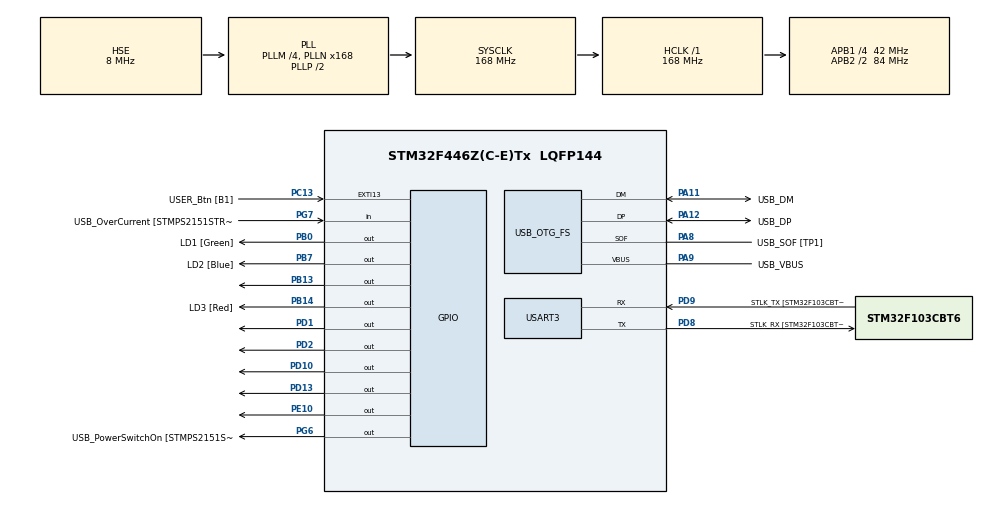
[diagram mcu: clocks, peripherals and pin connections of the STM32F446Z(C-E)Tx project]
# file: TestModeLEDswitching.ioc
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Mcu.Family=STM32F4
Mcu.Name=STM32F446Z(C-E)Tx
Mcu.Package=LQFP144
NVIC.PriorityGroup=NVIC_PRIORITYGROUP_4
NVIC.TIM2_IRQn=true\:0\:0\:false\:false\:true\:true\:true\:true
PA10.GPIO_Label=USB_ID
PA10.Signal=USB_OTG_FS_ID
PA11.GPIO_Label=USB_DM
PA11.Mode=Device_Only
PA11.Signal=USB_OTG_FS_DM
PA12.GPIO_Label=USB_DP
PA12.Mode=Device_Only
PA12.Signal=USB_OTG_FS_DP
PA13.GPIO_Label=TMS
PA13.Mode=Serial_Wire
PA13.Signal=SYS_JTMS-SWDIO
PA14.GPIO_Label=TCK
PA14.Mode=Serial_Wire
PA14.Signal=SYS_JTCK-SWCLK
PA8.GPIO_Label=USB_SOF [TP1]
PA8.Mode=Activate_SOF_FS
PA8.Signal=USB_OTG_FS_SOF
PA9.GPIO_Label=USB_VBUS
PA9.Mode=Activate_VBUS
PA9.Signal=USB_OTG_FS_VBUS
PB0.GPIO_Label=LD1 [Green]
PB0.Signal=GPIO_Output
PB13.Signal=GPIO_Output
PB14.GPIO_Label=LD3 [Red]
PB14.Signal=GPIO_Output
PB7.GPIO_Label=LD2 [Blue]
PB7.Signal=GPIO_Output
PC13.GPIO_Label=USER_Btn [B1]
PC13.Signal=GPXTI13
PC14-OSC32_IN.Mode=LSE-External-Oscillator
PC14-OSC32_IN.Signal=RCC_OSC32_IN
PC15-OSC32_OUT.Mode=LSE-External-Oscillator
PC15-OSC32_OUT.Signal=RCC_OSC32_OUT
PD1.Signal=GPIO_Output
PD10.Signal=GPIO_Output
PD13.Signal=GPIO_Output
PD2.Signal=GPIO_Output
PD8.GPIO_Label=STLK_RX [STM32F103CBT6_PA3]
PD8.Mode=Asynchronous
PD8.Signal=USART3_TX
PD9.GPIO_Label=STLK_TX [STM32F103CBT6_PA2]
PD9.Mode=Asynchronous
PD9.Signal=USART3_RX
PE10.Signal=GPIO_Output
PG6.GPIO_Label=USB_PowerSwitchOn [STMPS2151STR_EN]
PG6.Signal=GPIO_Output
PG7.GPIO_Label=USB_OverCurrent [STMPS2151STR_FAULT]
PG7.Signal=GPIO_Input
PH0-OSC_IN.GPIO_Label=MCO [STM32F103CBT6_PA8]
PH0-OSC_IN.Mode=HSE-External-Clock-Source
PH0-OSC_IN.Signal=RCC_OSC_IN
PH1-OSC_OUT.Mode=HSE-External-Clock-Source
PH1-OSC_OUT.Signal=RCC_OSC_OUT
ProjectManager.HeapSize=0x200
ProjectManager.StackSize=0x400
ProjectManager.TargetToolchain=STM32CubeIDE
RCC.48MHZClocksFreq_Value=24000000
RCC.AHBFreq_Value=168000000
RCC.APB1CLKDivider=RCC_HCLK_DIV4
RCC.APB1Freq_Value=42000000
RCC.APB1TimFreq_Value=84000000
RCC.APB2CLKDivider=RCC_HCLK_DIV2
RCC.APB2Freq_Value=84000000
RCC.APB2TimFreq_Value=168000000
RCC.CortexFreq_Value=168000000
RCC.HCLKFreq_Value=168000000
RCC.HSE_VALUE=8000000
RCC.HSI_VALUE=16000000
RCC.PLLM=4
RCC.PLLMUL=RCC_PLL_MUL9
RCC.PLLN=168
RCC.PLLQ=7
RCC.PRESCALERUSB=RCC_USBCLKSOURCE_PLL_DIV1_5
RCC.SYSCLKFreq_VALUE=168000000
RCC.SYSCLKSource=RCC_SYSCLKSOURCE_PLLCLK
RCC.SYSCLKSourceVirtual=RCC_SYSCLKSOURCE_PLLCLK
RCC.USBFreq_Value=48000000
RCC.VCOOutputFreq_Value=336000000
TIM2.Prescaler=8399
USART3.VirtualMode=VM_ASYNC
USB_OTG_FS.VirtualMode=Device_Only
VP_TIM2_VS_ClockSourceINT.Mode=Internal
board=NUCLEO-F446ZE

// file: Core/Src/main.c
/* USER CODE BEGIN Header */
/**
  ******************************************************************************
  * @file           : main.c
  * @brief          : Main program body
  ******************************************************************************
  * @attention
  *
  * Copyright (c) 2026 STMicroelectronics.
  * All rights reserved.
  *
  * This software is licensed under terms that can be found in the LICENSE file
  * in the root directory of this software component.
  * If no LICENSE file comes with this software, it is provided AS-IS.
  *
  ******************************************************************************
  */
/* USER CODE END Header */
#include "main.h"

TIM_HandleTypeDef htim2;

UART_HandleTypeDef huart3;

PCD_HandleTypeDef hpcd_USB_OTG_FS;

/* USER CODE BEGIN PV */
uint8_t patternA[6] = {1, 1, 1, 0, 0, 0}; //pattern 1
uint8_t patternB[6] = {0, 0, 0, 1, 1, 1}; //pattern 2

volatile uint8_t currentPattern = 0;//we will start at current pattern 0 and switch between one and 0 for pattern a and b

//volatile uint8_t printFlag = 0;
//volatile uint8_t activePatternNumber = 0;
/* USER CODE END PV */

void SystemClock_Config(void);
static void MX_GPIO_Init(void);
static void MX_USART3_UART_Init(void);
static void MX_USB_OTG_FS_PCD_Init(void);
static void MX_TIM2_Init(void);

/* USER CODE BEGIN 0 */
int __io_putchar(int ch)
{
    HAL_UART_Transmit(&huart3, (uint8_t *)&ch, 1, HAL_MAX_DELAY);
    return ch;
}

void ApplyPattern(uint8_t pattern[6])
{
	HAL_GPIO_WritePin(GPIOD, GPIO_PIN_10, pattern[0] ? GPIO_PIN_SET : GPIO_PIN_RESET);
	HAL_GPIO_WritePin(GPIOE, GPIO_PIN_10, pattern[1] ? GPIO_PIN_SET : GPIO_PIN_RESET);
    HAL_GPIO_WritePin(GPIOD, GPIO_PIN_1,  pattern[2] ? GPIO_PIN_SET : GPIO_PIN_RESET);
    HAL_GPIO_WritePin(GPIOD, GPIO_PIN_2, pattern[3] ? GPIO_PIN_SET : GPIO_PIN_RESET);
    HAL_GPIO_WritePin(GPIOB, GPIO_PIN_13, pattern[4] ? GPIO_PIN_SET : GPIO_PIN_RESET);
    HAL_GPIO_WritePin(GPIOD, GPIO_PIN_13, pattern[5] ? GPIO_PIN_SET : GPIO_PIN_RESET);
}
void SetSwitchingFrequency(uint32_t freq_hz)
{
    if (freq_hz == 0)
    {
        return;
    }

    uint32_t timer_tick_hz = 10000;
    uint32_t interrupt_rate = 2 * freq_hz;
    uint32_t arr_value = (timer_tick_hz / interrupt_rate) - 1;

    __HAL_TIM_SET_AUTORELOAD(&htim2, arr_value);
    __HAL_TIM_SET_COUNTER(&htim2, 0);
    __HAL_TIM_CLEAR_FLAG(&htim2, TIM_FLAG_UPDATE);
}
void HAL_TIM_PeriodElapsedCallback(TIM_HandleTypeDef *htim)
{
    if (htim->Instance == TIM2)
    {
        if (currentPattern == 0)
        {
            ApplyPattern(patternA);
            currentPattern = 1;
        }
        else
        {
            ApplyPattern(patternB);
            currentPattern = 0;
        }
    }
}

/* USER CODE END 0 */

int main(void)
{

  /* MCU Configuration--------------------------------------------------------*/

  /* Reset of all peripherals, Initializes the Flash interface and the Systick. */
  HAL_Init();

  /* Configure the system clock */
  SystemClock_Config();

  /* Initialize all configured peripherals */
  MX_GPIO_Init();
  MX_USART3_UART_Init();
  MX_USB_OTG_FS_PCD_Init();
  MX_TIM2_Init();
  /* USER CODE BEGIN 2 */
 // ApplyPattern(patternA);
  currentPattern = 1;

  SetSwitchingFrequency(100);   // example: 10 Hz
  HAL_TIM_Base_Start_IT(&htim2);
  ApplyPattern(patternA);
     // activePatternNumber = 1;
     // currentPattern = 1;

      //printf("MCU timer test mode started\r\n");
     // printf("Initial pattern: A\r\n");

     // HAL_TIM_Base_Start_IT(&htim2);
  /* USER CODE END 2 */

  /* Infinite loop */
  /* USER CODE BEGIN WHILE */
  while (1)
  {

	//  ApplyPattern(patternA);

	    // HAL_Delay(400);

	   //  ApplyPattern(patternB);

	    // HAL_Delay(400);
    /* USER CODE END WHILE */

  }
}

void SystemClock_Config(void)
{
  RCC_OscInitTypeDef RCC_OscInitStruct = {0};
  RCC_ClkInitTypeDef RCC_ClkInitStruct = {0};

  /** Configure the main internal regulator output voltage
  */
  __HAL_RCC_PWR_CLK_ENABLE();
  __HAL_PWR_VOLTAGESCALING_CONFIG(PWR_REGULATOR_VOLTAGE_SCALE1);

  /** Initializes the RCC Oscillators according to the specified parameters
  * in the RCC_OscInitTypeDef structure.
  */
  RCC_OscInitStruct.OscillatorType = RCC_OSCILLATORTYPE_HSE;
  RCC_OscInitStruct.HSEState = RCC_HSE_BYPASS;
  RCC_OscInitStruct.PLL.PLLState = RCC_PLL_ON;
  RCC_OscInitStruct.PLL.PLLSource = RCC_PLLSOURCE_HSE;
  RCC_OscInitStruct.PLL.PLLM = 4;
  RCC_OscInitStruct.PLL.PLLN = 168;
  RCC_OscInitStruct.PLL.PLLP = RCC_PLLP_DIV2;
  RCC_OscInitStruct.PLL.PLLQ = 7;
  RCC_OscInitStruct.PLL.PLLR = 2;
  if (HAL_RCC_OscConfig(&RCC_OscInitStruct) != HAL_OK)
  {
    Error_Handler();
  }

  /** Initializes the CPU, AHB and APB buses clocks
  */
  RCC_ClkInitStruct.ClockType = RCC_CLOCKTYPE_HCLK|RCC_CLOCKTYPE_SYSCLK
                              |RCC_CLOCKTYPE_PCLK1|RCC_CLOCKTYPE_PCLK2;
  RCC_ClkInitStruct.SYSCLKSource = RCC_SYSCLKSOURCE_PLLCLK;
  RCC_ClkInitStruct.AHBCLKDivider = RCC_SYSCLK_DIV1;
  RCC_ClkInitStruct.APB1CLKDivider = RCC_HCLK_DIV4;
  RCC_ClkInitStruct.APB2CLKDivider = RCC_HCLK_DIV2;

  if (HAL_RCC_ClockConfig(&RCC_ClkInitStruct, FLASH_LATENCY_5) != HAL_OK)
  {
    Error_Handler();
  }
}

static void MX_TIM2_Init(void)
{

  TIM_ClockConfigTypeDef sClockSourceConfig = {0};
  TIM_MasterConfigTypeDef sMasterConfig = {0};

  htim2.Instance = TIM2;
  htim2.Init.Prescaler = 8399;
  htim2.Init.CounterMode = TIM_COUNTERMODE_UP;
  htim2.Init.Period = 4294967295;
  htim2.Init.ClockDivision = TIM_CLOCKDIVISION_DIV1;
  htim2.Init.AutoReloadPreload = TIM_AUTORELOAD_PRELOAD_DISABLE;
  if (HAL_TIM_Base_Init(&htim2) != HAL_OK)
  {
    Error_Handler();
  }
  sClockSourceConfig.ClockSource = TIM_CLOCKSOURCE_INTERNAL;
  if (HAL_TIM_ConfigClockSource(&htim2, &sClockSourceConfig) != HAL_OK)
  {
    Error_Handler();
  }
  sMasterConfig.MasterOutputTrigger = TIM_TRGO_RESET;
  sMasterConfig.MasterSlaveMode = TIM_MASTERSLAVEMODE_DISABLE;
  if (HAL_TIMEx_MasterConfigSynchronization(&htim2, &sMasterConfig) != HAL_OK)
  {
    Error_Handler();
  }

}

static void MX_USART3_UART_Init(void)
{

  huart3.Instance = USART3;
  huart3.Init.BaudRate = 115200;
  huart3.Init.WordLength = UART_WORDLENGTH_8B;
  huart3.Init.StopBits = UART_STOPBITS_1;
  huart3.Init.Parity = UART_PARITY_NONE;
  huart3.Init.Mode = UART_MODE_TX_RX;
  huart3.Init.HwFlowCtl = UART_HWCONTROL_NONE;
  huart3.Init.OverSampling = UART_OVERSAMPLING_16;
  if (HAL_UART_Init(&huart3) != HAL_OK)
  {
    Error_Handler();
  }

}

static void MX_USB_OTG_FS_PCD_Init(void)
{

  hpcd_USB_OTG_FS.Instance = USB_OTG_FS;
  hpcd_USB_OTG_FS.Init.dev_endpoints = 6;
  hpcd_USB_OTG_FS.Init.speed = PCD_SPEED_FULL;
  hpcd_USB_OTG_FS.Init.dma_enable = DISABLE;
  hpcd_USB_OTG_FS.Init.phy_itface = PCD_PHY_EMBEDDED;
  hpcd_USB_OTG_FS.Init.Sof_enable = ENABLE;
  hpcd_USB_OTG_FS.Init.low_power_enable = DISABLE;
  hpcd_USB_OTG_FS.Init.lpm_enable = DISABLE;
  hpcd_USB_OTG_FS.Init.vbus_sensing_enable = ENABLE;
  hpcd_USB_OTG_FS.Init.use_dedicated_ep1 = DISABLE;
  if (HAL_PCD_Init(&hpcd_USB_OTG_FS) != HAL_OK)
  {
    Error_Handler();
  }

}

static void MX_GPIO_Init(void)
{
  GPIO_InitTypeDef GPIO_InitStruct = {0};

  /* GPIO Ports Clock Enable */
  __HAL_RCC_GPIOC_CLK_ENABLE();
  __HAL_RCC_GPIOH_CLK_ENABLE();
  __HAL_RCC_GPIOB_CLK_ENABLE();
  __HAL_RCC_GPIOE_CLK_ENABLE();
  __HAL_RCC_GPIOD_CLK_ENABLE();
  __HAL_RCC_GPIOG_CLK_ENABLE();
  __HAL_RCC_GPIOA_CLK_ENABLE();

  /*Configure GPIO pin Output Level */
  HAL_GPIO_WritePin(GPIOB, LD1_Pin|GPIO_PIN_13|LD3_Pin|LD2_Pin, GPIO_PIN_RESET);

  /*Configure GPIO pin Output Level */
  HAL_GPIO_WritePin(GPIOE, GPIO_PIN_10, GPIO_PIN_RESET);

  /*Configure GPIO pin Output Level */
  HAL_GPIO_WritePin(GPIOD, GPIO_PIN_10|GPIO_PIN_13|GPIO_PIN_1|GPIO_PIN_2, GPIO_PIN_RESET);

  /*Configure GPIO pin Output Level */
  HAL_GPIO_WritePin(USB_PowerSwitchOn_GPIO_Port, USB_PowerSwitchOn_Pin, GPIO_PIN_RESET);

  /*Configure GPIO pin : USER_Btn_Pin */
  GPIO_InitStruct.Pin = USER_Btn_Pin;
  GPIO_InitStruct.Mode = GPIO_MODE_IT_RISING;
  GPIO_InitStruct.Pull = GPIO_NOPULL;
  HAL_GPIO_Init(USER_Btn_GPIO_Port, &GPIO_InitStruct);

  /*Configure GPIO pins : LD1_Pin PB13 LD3_Pin LD2_Pin */
  GPIO_InitStruct.Pin = LD1_Pin|GPIO_PIN_13|LD3_Pin|LD2_Pin;
  GPIO_InitStruct.Mode = GPIO_MODE_OUTPUT_PP;
  GPIO_InitStruct.Pull = GPIO_NOPULL;
  GPIO_InitStruct.Speed = GPIO_SPEED_FREQ_LOW;
  HAL_GPIO_Init(GPIOB, &GPIO_InitStruct);

  /*Configure GPIO pin : PE10 */
  GPIO_InitStruct.Pin = GPIO_PIN_10;
  GPIO_InitStruct.Mode = GPIO_MODE_OUTPUT_PP;
  GPIO_InitStruct.Pull = GPIO_NOPULL;
  GPIO_InitStruct.Speed = GPIO_SPEED_FREQ_LOW;
  HAL_GPIO_Init(GPIOE, &GPIO_InitStruct);

  /*Configure GPIO pins : PD10 PD13 PD1 PD2 */
  GPIO_InitStruct.Pin = GPIO_PIN_10|GPIO_PIN_13|GPIO_PIN_1|GPIO_PIN_2;
  GPIO_InitStruct.Mode = GPIO_MODE_OUTPUT_PP;
  GPIO_InitStruct.Pull = GPIO_NOPULL;
  GPIO_InitStruct.Speed = GPIO_SPEED_FREQ_LOW;
  HAL_GPIO_Init(GPIOD, &GPIO_InitStruct);

  /*Configure GPIO pin : USB_PowerSwitchOn_Pin */
  GPIO_InitStruct.Pin = USB_PowerSwitchOn_Pin;
  GPIO_InitStruct.Mode = GPIO_MODE_OUTPUT_PP;
  GPIO_InitStruct.Pull = GPIO_NOPULL;
  GPIO_InitStruct.Speed = GPIO_SPEED_FREQ_LOW;
  HAL_GPIO_Init(USB_PowerSwitchOn_GPIO_Port, &GPIO_InitStruct);

  /*Configure GPIO pin : USB_OverCurrent_Pin */
  GPIO_InitStruct.Pin = USB_OverCurrent_Pin;
  GPIO_InitStruct.Mode = GPIO_MODE_INPUT;
  GPIO_InitStruct.Pull = GPIO_NOPULL;
  HAL_GPIO_Init(USB_OverCurrent_GPIO_Port, &GPIO_InitStruct);

}

void Error_Handler(void)
{
  __disable_irq();
  while (1)
  {
  }
}
